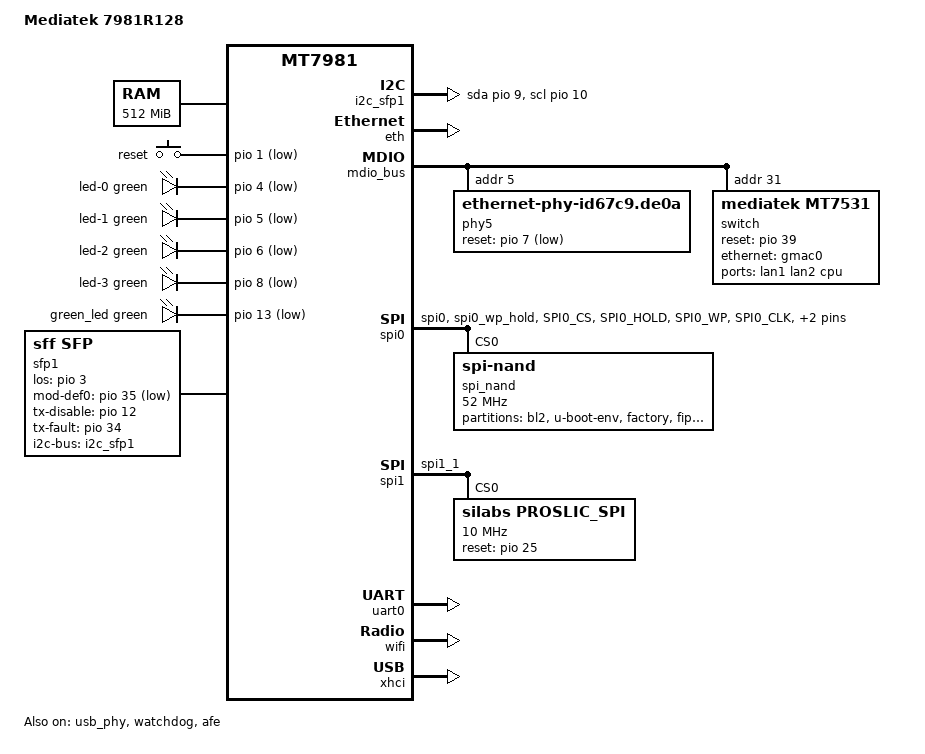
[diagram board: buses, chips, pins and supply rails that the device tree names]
// SPDX-License-Identifier: GPL-2.0-or-later OR MIT
/*
 * Copyright (C) 2023 Tianling Shen <cnsztl@immortalwrt.org>
 */

/dts-v1/;
#include <dt-bindings/gpio/gpio.h>
#include <dt-bindings/input/input.h>
#include <dt-bindings/leds/common.h>

#include "mt7981.dtsi"

/ {
	model = "Mediatek 7981R128";
	compatible = "mediatek,7981r128", "mediatek,mt7981";

	aliases {
		led-boot = &green_led;
		led-failsafe = &green_led;
		led-running = &green_led;
		led-upgrade = &green_led;
		serial0 = &uart0;
	};

	chosen: chosen {
		rootdisk = <&ubi_rootdisk>;
		stdout-path = "serial0:115200n8";
	};

	memory {
		reg = <0 0x40000000 0 0x20000000>;
	};

	gpio-keys {
		compatible = "gpio-keys";

		button-reset {
			label = "reset";
			linux,code = <KEY_RESTART>;
			gpios = <&pio 1 GPIO_ACTIVE_LOW>;
		};
	};

	gpio-leds {
		compatible = "gpio-leds";

		led-0 {
			function = LED_FUNCTION_WAN;
			color = <LED_COLOR_ID_GREEN>;
			gpios = <&pio 4 GPIO_ACTIVE_LOW>;
		};

		led-1 {
			function = LED_FUNCTION_WLAN_5GHZ;
			color = <LED_COLOR_ID_GREEN>;
			gpios = <&pio 5 GPIO_ACTIVE_LOW>;
		};

		led-2 {
			function = LED_FUNCTION_WLAN_2GHZ;
			color = <LED_COLOR_ID_GREEN>;
			gpios = <&pio 6 GPIO_ACTIVE_LOW>;
		};

		led-3 {
			function = LED_FUNCTION_LAN;
			color = <LED_COLOR_ID_GREEN>;
			gpios = <&pio 8 GPIO_ACTIVE_LOW>;
		};

		green_led: led-4 {
			function = LED_FUNCTION_POWER;
			color = <LED_COLOR_ID_GREEN>;
			gpios = <&pio 13 GPIO_ACTIVE_LOW>;
		};
	};

	/* SFP1 cage (WAN) */
	i2c_sfp1: i2c-gpio-0 {
		compatible = "i2c-gpio";
		sda-gpios = <&pio 9 (GPIO_ACTIVE_HIGH | GPIO_OPEN_DRAIN)>;
		scl-gpios = <&pio 10 (GPIO_ACTIVE_HIGH | GPIO_OPEN_DRAIN)>;
		i2c-gpio,delay-us = <2>;
		#address-cells = <1>;
		#size-cells = <0>;
	};

	sfp1: sfp1 {
		compatible = "sff,sfp";
		i2c-bus = <&i2c_sfp1>;
		los-gpios = <&pio 3 GPIO_ACTIVE_HIGH>;
		mod-def0-gpios = <&pio 35 GPIO_ACTIVE_LOW>;
		/*rate-select0-gpios = <&pio 9 GPIO_ACTIVE_HIGH>;
		rate-select1-gpios = <&pio 28 GPIO_ACTIVE_HIGH>;*/
		tx-disable-gpios = <&pio 12 GPIO_ACTIVE_HIGH>;
		tx-fault-gpios = <&pio 34 GPIO_ACTIVE_HIGH>;
		maximum-power-milliwatt = <3000>;
	};
};

&eth {
	status = "okay";

	gmac0: mac@0 {
		compatible = "mediatek,eth-mac";
		reg = <0>;
		phy-mode = "2500base-x";

		nvmem-cells = <&macaddr_factory_4 0>;
		nvmem-cell-names = "mac-address";

		fixed-link {
			speed = <2500>;
			full-duplex;
			pause;
		};
	};

	gmac1: mac@1 {
		compatible = "mediatek,eth-mac";
		reg = <1>;
		phy-mode = "2500base-x";
		managed = "in-band-status";
		sfp = <&sfp1>;

		nvmem-cells = <&macaddr_factory_4 1>;
		nvmem-cell-names = "mac-address";
	};
};

&mdio_bus {
	#address-cells = <1>;
	#size-cells = <0>;

	phy5: phy@5 {
		compatible = "ethernet-phy-id67c9.de0a";
		reg = <5>;
		reset-deassert-us = <20000>;
		reset-assert-us = <600>;
		reset-gpios = <&pio 7 GPIO_ACTIVE_LOW>;
	};

	switch: switch@1f {
        compatible = "mediatek,mt7531";
		reg = <31>;
		reset-gpios = <&pio 39 GPIO_ACTIVE_HIGH>;

		ports {
			#address-cells = <1>;
			#size-cells = <0>;

			port@1 {
				reg = <1>;
				label = "lan1";
			};

			port@5 {
				reg = <5>;
				label = "lan2";
				phy-mode = "2500base-x";
				phy-handle = <&phy5>;
			};

			port@6 {
				reg = <6>;
				label = "cpu";
				ethernet = <&gmac0>;
				phy-mode = "2500base-x";

				fixed-link {
					speed = <2500>;
					full-duplex;
					pause;
				};
			};
		};
	};
};

&spi0 {
	pinctrl-names = "default";
	pinctrl-0 = <&spi0_flash_pins>;
	status = "okay";

	spi_nand@0 {
		#address-cells = <1>;
		#size-cells = <1>;
		compatible = "spi-nand";
		reg = <0>;

		spi-max-frequency = <52000000>;
		spi-tx-bus-width = <4>;
		spi-rx-bus-width = <4>;

		partitions {
			compatible = "fixed-partitions";
			#address-cells = <1>;
			#size-cells = <1>;

			partition@0 {
				label = "bl2";
				reg = <0x0 0x100000>;
				read-only;
			};

			partition@100000 {
				label = "u-boot-env";
				reg = <0x100000 0x80000>;
			};

			partition@180000 {
				label = "factory";
				reg = <0x180000 0x200000>;
				read-only;

				nvmem-layout {
					compatible = "fixed-layout";
					#address-cells = <1>;
					#size-cells = <1>;

					eeprom_factory_0: eeprom@0 {
						reg = <0x0 0x1000>;
					};

					macaddr_factory_4: macaddr@4 {
						compatible = "mac-base";
						reg = <0x4 0x6>;
						#nvmem-cell-cells = <1>;
					};
				};
			};

			partition@380000 {
				label = "fip";
				reg = <0x380000 0x200000>;
				read-only;
			};

			partition@580000 {
				compatible = "linux,ubi";
				label = "ubi";
				reg = <0x580000 0x7200000>;

				volumes {
					ubi_rootdisk: ubi-volume-fit {
						volname = "fit";
					};
				};
			};
		};
	};
};

&spi1 {
	pinctrl-names = "default";
	pinctrl-0 = <&spic_pins>;
	status = "okay";

	proslic_spi: proslic_spi@0 {
		compatible = "silabs,proslic_spi";
		reg = <0>;
		spi-max-frequency = <10000000>;
		spi-cpha = <1>;
		spi-cpol = <1>;
		channel_count = <1>;
		debug_level = <4>;       /* 1 = TRC, 2 = DBG, 4 = ERR */
		reset_gpio = <&pio 25 GPIO_ACTIVE_HIGH>;
		ig,enable-spi = <1>;     /* 1: Enable, 0: Disable */
	};
};


&uart0 {
	status = "okay";
};

&usb_phy {
	status = "okay";
};

&watchdog {
	status = "okay";
};

&wifi {
	nvmem-cells = <&eeprom_factory_0>;
	nvmem-cell-names = "eeprom";
	status = "okay";
};

&xhci {
	status = "okay";
};

&pio {
	i2c_pins_g0: i2c-pins-g0 {
		mux {
			function = "i2c";
			groups = "i2c0_0";
		};
	};

	pcm_pins: pcm-pins-g0 {
		mux {
			function = "pcm";
			groups = "pcm";
		};
	};

	spi0_flash_pins: spi0-pins {
		mux {
			function = "spi";
			groups = "spi0", "spi0_wp_hold";
		};

		conf-pu {
			pins = "SPI0_CS", "SPI0_HOLD", "SPI0_WP";
			drive-strength = <8>;
			mediatek,pull-up-adv = <0>; /* bias-disable */
		};

		conf-pd {
			pins = "SPI0_CLK", "SPI0_MOSI", "SPI0_MISO";
			drive-strength = <8>;
			mediatek,pull-up-adv = <0>; /* bias-disable */
		};
	};

	spic_pins: spi1-pins {
		mux {
			function = "spi";
			groups = "spi1_1";
		};
	};
};

&afe {
	pinctrl-names = "default";
	pinctrl-0 = <&pcm_pins>;
	status = "okay";
};

&i2c0 {
	pinctrl-names = "default";
	pinctrl-0 = <&i2c_pins_g0>;
	status = "disabled";
};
